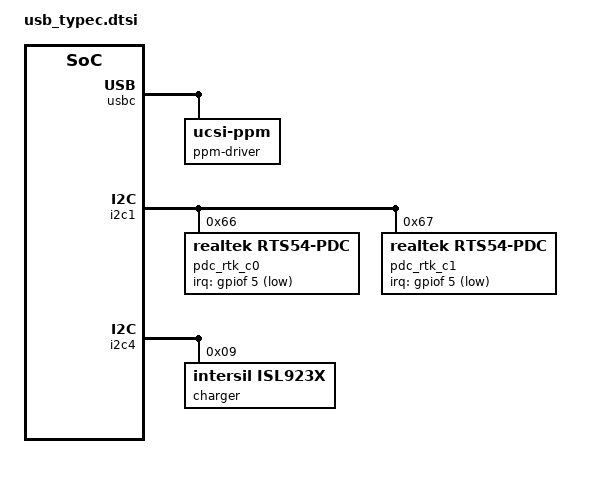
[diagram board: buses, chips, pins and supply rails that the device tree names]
/*
 * Copyright 2025 The ChromiumOS Authors
 *
 * SPDX-License-Identifier: Apache-2.0
 */

#include <usbc-policy.dtsi>

 /{
	usbc {
		#address-cells = <1>;
		#size-cells = <0>;
		usbc_port0: port0@0 {
			compatible = "named-usbc-port";
			reg = <0>;
			chg = <&charger>;
			pdc = <&pdc_rtk_c0>;
			pd-retimer;
			policy = <&cros_policy>;
		};
		usbc_port1: port1@1 {
			compatible = "named-usbc-port";
			reg = <1>;
			pdc = <&pdc_rtk_c1>;
			pd-retimer;
			policy = <&cros_policy>;
		};
		ppm-driver {
			compatible = "ucsi-ppm";
		};
	};
};

&i2c1 {
	/* Define PDC IRQ GPIO(s) in board overlay */
	pdc_rtk_c0: rts54-pdc@66 {
		compatible = "realtek,rts54-pdc";
		reg = <0x66>;
		irq-gpios = <&gpiof 5 GPIO_ACTIVE_LOW>;
		ccd;
	};
	pdc_rtk_c1: rts54-pdc@67 {
		compatible = "realtek,rts54-pdc";
		reg = <0x67>;
		irq-gpios = <&gpiof 5 GPIO_ACTIVE_LOW>;
		no-fw-update;
	};
};

&i2c4 {
	charger: isl9238@9 {
		compatible = "intersil,isl923x";
		status = "okay";
		reg = <0x9>;
	};
};
